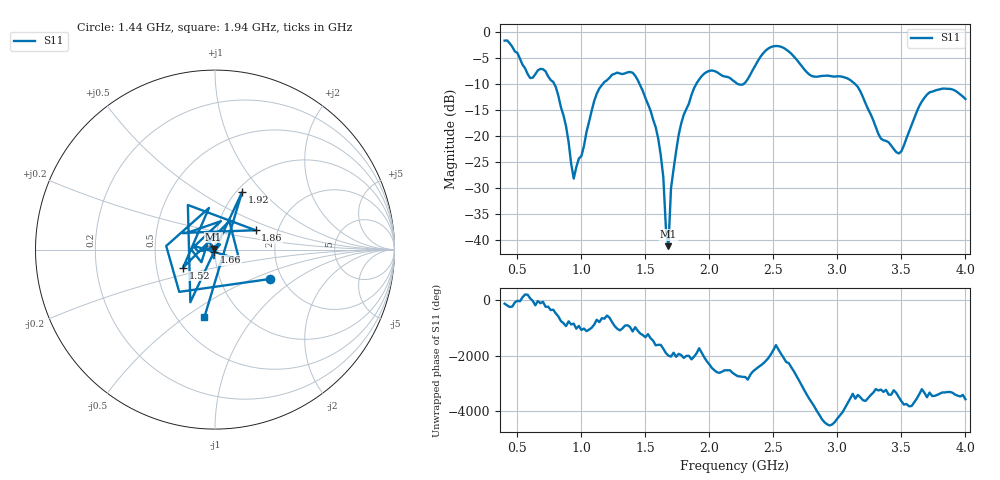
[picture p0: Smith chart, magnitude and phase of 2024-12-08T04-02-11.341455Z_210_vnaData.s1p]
!Created with skrf (http://scikit-rf.org).
# Hz S RI R 50.0
!freq ReS11 ImS11
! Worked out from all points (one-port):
!   181 points, 400 MHz to 4 GHz, reference 50 ohm
!   lowest |S11| = -41.1 dB at 1.68 GHz (marker M1), VSWR 1.02, Z = 49.2 + j0.316 ohm
!   |S11| at or under -10 dB: 789.5 MHz to 1.164 GHz (375 MHz wide, 38.4 % of centre); 1.456 GHz to 1.896 GHz (439.6 MHz wide, 26.2 % of centre); 3.142 GHz to end of sweep (the widest 3 of 4)
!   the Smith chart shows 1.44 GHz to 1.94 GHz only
!   S11 on the Smith chart (normalised r, x): 1.44 GHz: 1.74, -0.65; 1.52 GHz: 0.69, -0.14; 1.66 GHz: 0.99, -0.02; 1.86 GHz: 1.53, +0.35; 1.92 GHz: 1.06, +0.77; 1.94 GHz: 0.68, -0.59
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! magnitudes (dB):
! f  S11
! 400 MHz  -1.6
! 600 MHz  -8.8
! 720 MHz  -7.5
! 860 MHz  -16.0
! 940 MHz  -28.1
! 1.12 GHz  -11.8
! 1.3 GHz  -7.9
! 1.44 GHz  -9.2
! 1.52 GHz  -13.8
! 1.62 GHz  -23.6
! 1.64 GHz  -27.9
! 1.66 GHz  -37.6
! 1.68 GHz  -41.1
! 1.7 GHz  -30.0
! 1.76 GHz  -19.7
! 1.86 GHz  -12.0
! 1.92 GHz  -9.0
! 1.94 GHz  -8.4
! 2.2 GHz  -9.5
! 2.28 GHz  -9.7
! 2.48 GHz  -2.8
! 2.66 GHz  -4.6
! 2.8 GHz  -8.4
! 3.1 GHz  -9.2
! 3.46 GHz  -23.0
! 3.56 GHz  -19.1
! 3.72 GHz  -11.5
! 4 GHz  -12.8
